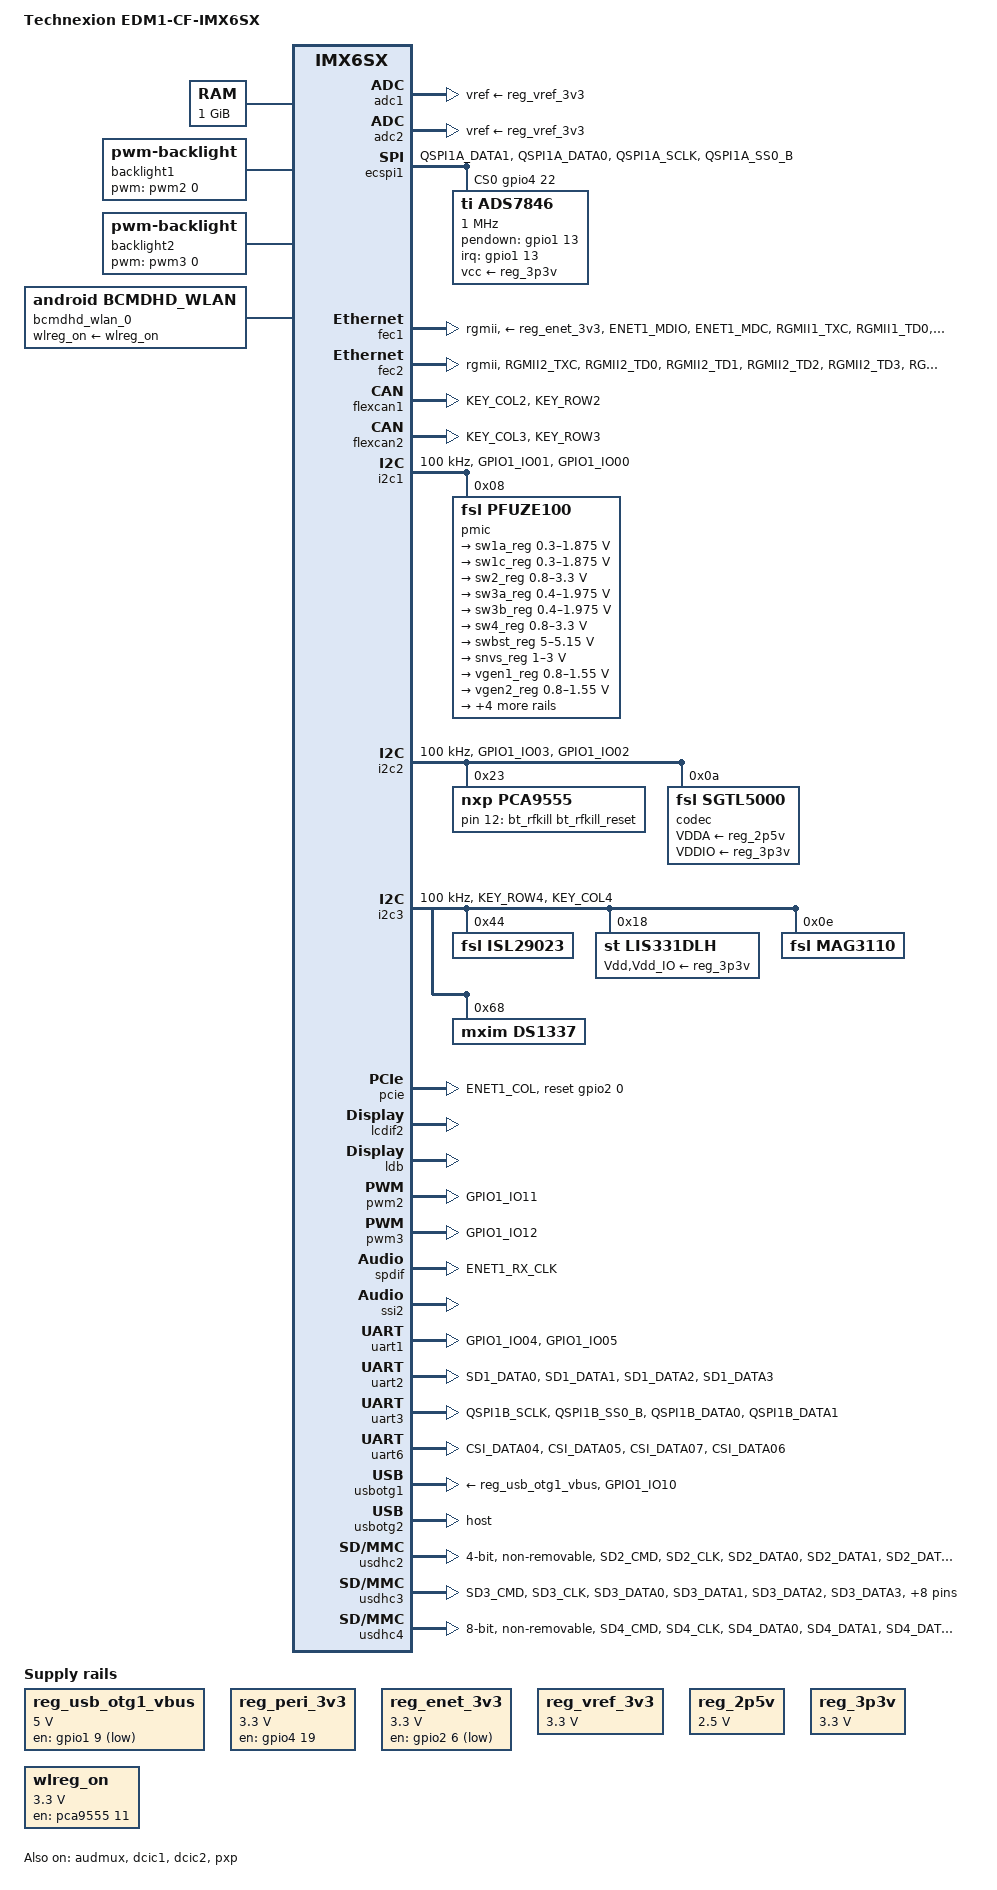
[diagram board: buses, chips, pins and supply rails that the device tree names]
/*
 * Copyright (C) 2014 Freescale Semiconductor, Inc.
 * Copyright 2016 Technexion Ltd.
 *
 * Author: Richard Hu <richard.hu@technexion.com>
 *
 * This program is free software; you can redistribute it and/or modify
 * it under the terms of the GNU General Public License version 2 as
 * published by the Free Software Foundation.
 *
 */

/dts-v1/;

#include <dt-bindings/gpio/gpio.h>
#include <dt-bindings/input/input.h>
#include "imx6sx.dtsi"

/ {
	model = "Technexion EDM1-CF-IMX6SX";
	compatible = "fsl,edm1-cf-imx6sx", "fsl,imx6sx";

	chosen {
		stdout-path = &uart1;
	};

	memory {
		reg = <0x80000000 0x40000000>;
	};

	backlight1 {
		compatible = "pwm-backlight";
		pwms = <&pwm2 0 5000000>;
		brightness-levels = <0 4 8 16 32 64 128 255>;
		default-brightness-level = <6>;
		fb-names = "mxs-lcdif0";
	};
	
	backlight2 {
		compatible = "pwm-backlight";
		pwms = <&pwm3 0 5000000>;
		brightness-levels = <0 4 8 16 32 64 128 255>;
		default-brightness-level = <6>;
		fb-names = "mxs-lcdif1";
	};

	pxp_v4l2_out {
		compatible = "fsl,imx6sx-pxp-v4l2", "fsl,imx6sl-pxp-v4l2";
		status = "okay";
	};

	regulators {
		compatible = "simple-bus";
		#address-cells = <1>;
		#size-cells = <0>;

		reg_usb_otg1_vbus: regulator@1 {
			compatible = "regulator-fixed";
			reg = <1>;
			pinctrl-names = "default";
			pinctrl-0 = <&pinctrl_usb_otg1>;
			regulator-name = "usb_otg1_vbus";
			regulator-min-microvolt = <5000000>;
			regulator-max-microvolt = <5000000>;
			gpio = <&gpio1 9 GPIO_ACTIVE_HIGH>;
		};

		reg_lcd_3v3: regulator@4 {
			compatible = "regulator-fixed";
			reg = <4>;
			regulator-name = "lcd-3v3";
			gpio = <&gpio3 27 0>;
			enable-active-high;
			status = "disabled";
		};

		reg_peri_3v3: regulator@5 {
			compatible = "regulator-fixed";
			reg = <5>;
			pinctrl-names = "default";
			pinctrl-0 = <&pinctrl_peri_3v3>;
			regulator-name = "peri_3v3";
			regulator-min-microvolt = <3300000>;
			regulator-max-microvolt = <3300000>;
			gpios = <&gpio4 19 GPIO_ACTIVE_HIGH>;
			enable-active-high;
			regulator-always-on;
		};

		reg_enet_3v3: regulator@6 {
			compatible = "regulator-fixed";
			reg = <6>;
			pinctrl-names = "default";
			pinctrl-0 = <&pinctrl_enet_3v3>;
			regulator-name = "enet_3v3";
			regulator-min-microvolt = <3300000>;
			regulator-max-microvolt = <3300000>;
			gpios = <&gpio2 6 GPIO_ACTIVE_LOW>;
		};

		reg_vref_3v3: regulator@7 {
			compatible = "regulator-fixed";
			reg = <7>;
			regulator-name = "vref-3v3";
			regulator-min-microvolt = <3300000>;
			regulator-max-microvolt = <3300000>;
		};

		reg_2p5v: 2p5v {
			compatible = "regulator-fixed";
			regulator-name = "2P5V";
			regulator-min-microvolt = <2500000>;
			regulator-max-microvolt = <2500000>;
			regulator-always-on;
		};

		reg_3p3v: 3p3v {
			compatible = "regulator-fixed";
			regulator-name = "3P3V";
			regulator-min-microvolt = <3300000>;
			regulator-max-microvolt = <3300000>;
			regulator-always-on;
		};

		wlreg_on: wlreg_on {
			compatible = "regulator-fixed";
			regulator-min-microvolt = <3300000>;
			regulator-max-microvolt = <3300000>;
			regulator-name = "wlreg_on";
			gpio = <&pca9555 11 GPIO_ACTIVE_HIGH>;
			enable-active-high;
		};
	};

	bcmdhd_wlan_0: bcmdhd_wlan@0 {
		compatible = "android,bcmdhd_wlan";
		wlreg_on-supply = <&wlreg_on>;
	};

	bt_rfkill {
		compatible = "net,rfkill-bcm43xx";
		name = "bt_rfkill";
		type = <2>;     /* bluetooth */
		bt_rfkill_reset-gpios = <&pca9555 12 0>;
	};

	gpio-edm {
		compatible = "gpio-edm";
		/* expender gpios */
		gpio_p255 {
			label = "GPIO_P255";
			gpios = <&gpio4 26 0>;
			dir   = "out";
		};
		gpio_p256 {
			label = "GPIO_P256";
			gpios = <&gpio4 27 0>;
			dir   = "out";
		};
		gpio_p257 {
			label = "GPIO_P257";
			gpios = <&gpio1 16 0>;
			dir   = "out";
		};
		gpio_p258 {
			label = "GPIO_P258";
			gpios = <&pca9555 14 0>;
			dir   = "out";
		};
		gpio_p259 {
			label = "GPIO_P259";
			gpios = <&gpio1 17 0>;
			dir   = "out";
		};
		gpio_p260 {
			label = "GPIO_P260";
			gpios = <&pca9555 15 0>;
			dir   = "out";
		};
		gpio_p261 {
			label = "GPIO_P261";
			gpios = <&gpio2 1 0>;
			dir   = "out";
		};
		gpio_p262 {
			label = "GPIO_P262";
			gpios = <&pca9555 6 0>;
			dir   = "out";
		};
		gpio_p263 {
			label = "GPIO_P263";
			gpios = <&gpio1 13 0>;
			dir   = "in"; /* touch irq*/
		};
		gpio_p264 {
			label = "GPIO_P264";
			gpios = <&pca9555 7 0>;
			dir   = "out";
		};
		wifi-bt-pwr-on {
			label = "wifi-bt-pwr-on";
			gpios = <&pca9555 10 1>;
			dir   = "out";
		};
	};

	sound {
		compatible = "fsl,edm1-cf-imx6sx-sgtl5000",
			   "fsl,imx-audio-sgtl5000";
		model = "sgtl5000-audio";
		ssi-controller = <&ssi2>;
		audio-codec = <&codec>;
		audio-routing =
			"LINE_IN", "Line In Jack",
			"MIC_IN", "Mic Jack",
			"Mic Jack", "Mic Bias",
			"Headphone Jack", "HP_OUT";
		mux-int-port = <2>;
		mux-ext-port = <6>;
	};

	sound-spdif {
		compatible = "fsl,imx-audio-spdif",
			   "fsl,edm1-cf-imx6sx-spdif";
		model = "imx-spdif";
		spdif-controller = <&spdif>;
		spdif-out;
	};
};

&adc1 {
	vref-supply = <&reg_vref_3v3>;
	status = "okay";
};

&adc2 {
	vref-supply = <&reg_vref_3v3>;
	status = "okay";
};

&audmux {
	pinctrl-names = "default";
	pinctrl-0 = <&pinctrl_audmux>;
	status = "okay";
};

&ecspi1 {
	fsl,spi-num-chipselects = <1>;
	cs-gpios = <&gpio4 22 0>;
	pinctrl-names = "default";
	pinctrl-0 = <&pinctrl_ecspi1_1 &pinctrl_ecspi1_cs_1>;
	status = "okay";

	ads7846@0 {
		reg = <0>;  /* CS0 */
		compatible = "ti,ads7846";
		pinctrl-names = "default";
		pinctrl-0 = <&pinctrl_ads7846_irq>;
		interrupt-parent = <&gpio1>;
		interrupts = <13 0>;
		spi-max-frequency = <1000000>;
		pendown-gpio = <&gpio1 13 0>;
		vcc-supply = <&reg_3p3v>;

		ti,x-min = /bits/ 16 <0>;
		ti,x-max = /bits/ 16 <4095>;
		ti,y-min = /bits/ 16 <0>;
		ti,y-max = /bits/ 16 <4095>;
		ti,pressure-max = /bits/ 16 <1024>;
		ti,x-plate-ohms = /bits/ 16 <90>;
		ti,y-plate-ohms = /bits/ 16 <90>;
		ti,debounce-max = /bits/ 16 <70>;
		ti,debounce-tol = /bits/ 16 <3>;
		ti,debounce-rep = /bits/ 16 <2>;
		ti,settle-delay-usec = /bits/ 16 <150>;

		linux,wakeup;
	};
};

&gpc {
	fsl,ldo-bypass = <1>;
};

&fec1 {
	pinctrl-names = "default";
	pinctrl-0 = <&pinctrl_enet1>;
	phy-supply = <&reg_enet_3v3>;
	phy-mode = "rgmii";
	status = "okay";
};


&fec2 {
	pinctrl-names = "default";
	pinctrl-0 = <&pinctrl_enet2>;
	phy-mode = "rgmii";
	status = "okay";
};

&dcic1 {
	dcic_id = <0>;
	dcic_mux = "dcic-lcdif1";
	status = "okay";
};

&dcic2 {
	dcic_id = <1>;
	dcic_mux = "dcic-lvds";
	status = "okay";
};

&flexcan1 {
	pinctrl-names = "default";
	pinctrl-0 = <&pinctrl_flexcan1>;
	status = "okay";
};

&flexcan2 {
	pinctrl-names = "default";
	pinctrl-0 = <&pinctrl_flexcan2>;
	status = "okay";
};

&i2c1 {
	clock-frequency = <100000>;
	pinctrl-names = "default";
	pinctrl-0 = <&pinctrl_i2c1>;
	status = "okay";

	pmic: pfuze100@08 {
		compatible = "fsl,pfuze100";
		reg = <0x08>;

		regulators {
			sw1a_reg: sw1ab {
				regulator-min-microvolt = <300000>;
				regulator-max-microvolt = <1875000>;
				regulator-boot-on;
				regulator-always-on;
				regulator-ramp-delay = <6250>;
			};

			sw1c_reg: sw1c {
				regulator-min-microvolt = <300000>;
				regulator-max-microvolt = <1875000>;
				regulator-boot-on;
				regulator-always-on;
				regulator-ramp-delay = <6250>;
			};

			sw2_reg: sw2 {
				regulator-min-microvolt = <800000>;
				regulator-max-microvolt = <3300000>;
				regulator-boot-on;
				regulator-always-on;
			};

			sw3a_reg: sw3a {
				regulator-min-microvolt = <400000>;
				regulator-max-microvolt = <1975000>;
				regulator-boot-on;
				regulator-always-on;
			};

			sw3b_reg: sw3b {
				regulator-min-microvolt = <400000>;
				regulator-max-microvolt = <1975000>;
				regulator-boot-on;
				regulator-always-on;
			};

			sw4_reg: sw4 {
				regulator-min-microvolt = <800000>;
				regulator-max-microvolt = <3300000>;
			};

			swbst_reg: swbst {
				regulator-min-microvolt = <5000000>;
				regulator-max-microvolt = <5150000>;
			};

			snvs_reg: vsnvs {
				regulator-min-microvolt = <1000000>;
				regulator-max-microvolt = <3000000>;
				regulator-boot-on;
				regulator-always-on;
			};

			vref_reg: vrefddr {
				regulator-boot-on;
				regulator-always-on;
			};

			vgen1_reg: vgen1 {
				regulator-min-microvolt = <800000>;
				regulator-max-microvolt = <1550000>;
				regulator-always-on;
			};

			vgen2_reg: vgen2 {
				regulator-min-microvolt = <800000>;
				regulator-max-microvolt = <1550000>;
			};

			vgen3_reg: vgen3 {
				regulator-min-microvolt = <1800000>;
				regulator-max-microvolt = <3300000>;
				regulator-always-on;
			};

			vgen4_reg: vgen4 {
				regulator-min-microvolt = <1800000>;
				regulator-max-microvolt = <3300000>;
				regulator-always-on;
			};

			vgen5_reg: vgen5 {
				regulator-min-microvolt = <1800000>;
				regulator-max-microvolt = <3300000>;
				regulator-always-on;
			};

			vgen6_reg: vgen6 {
				regulator-min-microvolt = <1800000>;
				regulator-max-microvolt = <3300000>;
				regulator-always-on;
			};
		};
	};
};

&i2c2 {
	clock-frequency = <100000>;
	pinctrl-names = "default";
	pinctrl-0 = <&pinctrl_i2c2>;
	status = "okay";

	pca9555: pca9555@23 {
		compatible = "nxp,pca9555";
//		interrupt-parent = <&gpio1>;
//		interrupts = <23 0x2>;
		gpio-controller;
		#gpio-cells = <2>;
//		interrupt-controller;
		#interrupt-cells = <2>;
		reg = <0x23>;
	};

	codec: sgtl5000@0a {
		compatible = "fsl,sgtl5000";
		reg = <0x0a>;
		clocks = <&clks IMX6SX_CLK_AUDIO>;
		VDDA-supply = <&reg_2p5v>;
		VDDIO-supply = <&reg_3p3v>;
	};
};

&i2c3 {
	clock-frequency = <100000>;
	pinctrl-names = "default";
	pinctrl-0 = <&pinctrl_i2c3>;
	status = "okay";

	isl29023@44 {
		compatible = "fsl,isl29023";
		reg = <0x44>;
		rext = <499>;
	};

	lis331dlh: lis331dlh@18 {
		compatible = "st,lis331dlh", "st,lis3lv02d";
		reg = <0x18>;
		Vdd-supply = <&reg_3p3v>;
		Vdd_IO-supply = <&reg_3p3v>;

		st,click-single-x;
		st,click-single-y;
		st,click-single-z;
		st,click-thresh-x = <10>;
		st,click-thresh-y = <10>;
		st,click-thresh-z = <10>;
		st,irq1-click;
		st,irq2-click;
		st,wakeup-x-lo;
		st,wakeup-x-hi;
		st,wakeup-y-lo;
		st,wakeup-y-hi;
		st,wakeup-z-lo;
		st,wakeup-z-hi;
		st,min-limit-x = <120>;
		st,min-limit-y = <120>;
		st,min-limit-z = <140>;
		st,max-limit-x = <550>;
		st,max-limit-y = <550>;
		st,max-limit-z = <750>;
	};

	mag3110@0e {
		compatible = "fsl,mag3110";
		reg = <0x0e>;
		position = <2>;
	};

	ds1337: rtc@68 {
		compatible = "mxim,ds1337";
		reg = <0x68>;
	};
};

&i2c4 {
	clock-frequency = <100000>;
	pinctrl-names = "default";
	pinctrl-0 = <&pinctrl_i2c4>;

	status = "disabled";
};

&lcdif1 {
	pinctrl-names = "default";
	pinctrl-0 = <&pinctrl_lcd>;
	lcd-supply = <&reg_lcd_3v3>;
	display = <&display0>;
	status = "disabled";

	display0: display {
		bits-per-pixel = <24>;
		bus-width = <24>;

		display-timings {
			native-mode = <&timing0>;
			timing0: timing0 {
				clock-frequency = <33260000>;
				hactive = <800>;
				vactive = <480>;
				hback-porch = <46>;
				hfront-porch = <210>;
				vback-porch = <23>;
				vfront-porch = <22>;
				hsync-len = <1>;
				vsync-len = <1>;
				hsync-active = <0>;
				vsync-active = <0>;
				de-active = <1>;
				pixelclk-active = <0>;
				interlaced =  <0>;
			};
		};
	};
};

&pcie {
	pinctrl-names = "default";
	pinctrl-0 = <&pinctrl_pcie>;
	reset-gpio = <&gpio2 0 0>;
	status = "okay";
};

&lcdif2 {
	display = <&display1>;
	disp-dev = "ldb";
	status = "okay";
	display1: display {
		bits-per-pixel = <24>;
		bus-width = <24>;
	};
};
&ldb {
	status = "okay";
	lvds-channel@0 {
		fsl,data-mapping = "spwg";
		fsl,data-width = <24>;
		crtc = "lcdif2";
		status = "okay";
		display-timings {
			native-mode = <&timing1>;
			timing1: hj070na {
				clock-frequency = <51000000>;
				hactive = <1024>;
				vactive = <600>;
				hback-porch = <90>;
				hfront-porch = <120>;
				vback-porch = <1>;
				vfront-porch = <1>;
				hsync-len = <100>;
				vsync-len = <33>;
			};
		};
	};
};

&pwm2 {
	pinctrl-names = "default";
	pinctrl-0 = <&pinctrl_pwm2>;
	status = "okay";
};

&pwm3 {
	pinctrl-names = "default";
	pinctrl-0 = <&pinctrl_pwm3>;
	status = "okay";
};

&pxp {
        status = "okay";
};

&snvs_poweroff {
	status = "okay";
};

&snvs_pwrkey {
	status = "disabled";
};

&spdif {
	pinctrl-names = "default";
	pinctrl-0 = <&pinctrl_spdif>;
	status = "okay";
};

&ssi2 {
	status = "okay";
};

&uart1 {
	pinctrl-names = "default";
	pinctrl-0 = <&pinctrl_uart1>;
	status = "okay";
};

&uart2 {
	pinctrl-names = "default";
	pinctrl-0 = <&pinctrl_uart2>;
	fsl,uart-has-rtscts;
	status = "okay";
};

&uart3 {
	pinctrl-names = "default";
	pinctrl-0 = <&pinctrl_uart3>;
	fsl,uart-has-rtscts;
	status = "okay";
};

&uart6 { /* bluetooth */
	pinctrl-names = "default";
	pinctrl-0 = <&pinctrl_uart6>;
	fsl,uart-has-rtscts;
	status = "okay";
};

&usbotg1 {
	vbus-supply = <&reg_usb_otg1_vbus>;
	pinctrl-names = "default";
	pinctrl-0 = <&pinctrl_usb_otg1_id>;
	srp-disable;
	hnp-disable;
	adp-disable;
	status = "okay";
};

&usbotg2 {
	dr_mode = "host";
	status = "okay";
};

/* Broadcom Wifi */
&usdhc2 {
	pinctrl-names = "default";
	pinctrl-0 = <&pinctrl_usdhc2>;
	bus-width = <4>;
	no-1-8-v;	/* force 3.3V VIO */
	non-removable;
	cd-post;
	pm-ignore-notify;
	wifi-host;
	status = "okay";
};

/* baseboard SD card */
&usdhc3 {
	pinctrl-names = "default";
	pinctrl-0 = <&pinctrl_usdhc3>;
	cd-gpios = <&gpio6 0 GPIO_ACTIVE_LOW>;
	wp-gpios = <&gpio6 1 GPIO_ACTIVE_HIGH>;
	status = "okay";
};

/* Module i-Nand */
&usdhc4 {
	pinctrl-names = "default";
	pinctrl-0 = <&pinctrl_usdhc4_1>;
	bus-width = <8>;
	keep-power-in-suspend;
	enable-sdio-wakeup;
	non-removable;
	status = "okay";
};

&wdog1 {
	pinctrl-names = "default";
	pinctrl-0 = <&pinctrl_wdog>;
	fsl,wdog_b;
};

&iomuxc {
	pinctrl-names = "default";
	pinctrl-0 = <&pinctrl_hog>;

	imx6sx-edm1-cf {
		pinctrl_hog: hoggrp {
			fsl,pins = <
				MX6SX_PAD_QSPI1B_DATA2__GPIO4_IO_26  0xb000 /* GPIO4_26 EDM pin 255 */
				MX6SX_PAD_QSPI1B_DATA3__GPIO4_IO_27  0xb000 /* GPIO4_27 EDM pin 256 */
				MX6SX_PAD_CSI_DATA02__GPIO1_IO_16    0xb000 /* GPIO1_16 EDM pin 257 */
				MX6SX_PAD_CSI_DATA03__GPIO1_IO_17    0xb000 /* GPIO1_17 EDM pin 259 */
				MX6SX_PAD_ENET1_CRS__GPIO2_IO_1      0xb000 /* GPIO2_1 EDM pin 261 */
			>;
		};

		pinctrl_audmux: audmuxgrp {
			fsl,pins = <
				MX6SX_PAD_CSI_DATA00__AUDMUX_AUD6_TXC	0x130b0
				MX6SX_PAD_CSI_DATA01__AUDMUX_AUD6_TXFS	0x130b0
				MX6SX_PAD_CSI_HSYNC__AUDMUX_AUD6_TXD	0x120b0
				MX6SX_PAD_CSI_VSYNC__AUDMUX_AUD6_RXD	0x130b0
				MX6SX_PAD_CSI_PIXCLK__AUDMUX_MCLK	0x130b0
			>;
		};

		pinctrl_csi_0: csigrp-0 {
			fsl,pins = <
				MX6SX_PAD_LCD1_DATA07__CSI1_MCLK	0x110b0
				MX6SX_PAD_LCD1_DATA06__CSI1_PIXCLK	0x110b0
				MX6SX_PAD_LCD1_DATA04__CSI1_VSYNC	0x110b0
				MX6SX_PAD_LCD1_DATA05__CSI1_HSYNC	0x110b0
				MX6SX_PAD_LCD1_DATA17__CSI1_DATA_0	0x110b0
				MX6SX_PAD_LCD1_DATA16__CSI1_DATA_1	0x110b0
				MX6SX_PAD_LCD1_DATA15__CSI1_DATA_2	0x110b0
				MX6SX_PAD_LCD1_DATA14__CSI1_DATA_3	0x110b0
				MX6SX_PAD_LCD1_DATA13__CSI1_DATA_4	0x110b0
				MX6SX_PAD_LCD1_DATA12__CSI1_DATA_5	0x110b0
				MX6SX_PAD_LCD1_DATA11__CSI1_DATA_6	0x110b0
				MX6SX_PAD_LCD1_DATA10__CSI1_DATA_7	0x110b0
				MX6SX_PAD_LCD1_DATA09__CSI1_DATA_8	0x110b0
				MX6SX_PAD_LCD1_DATA08__CSI1_DATA_9	0x110b0
				MX6SX_PAD_LCD1_RESET__GPIO3_IO_27	0x80000000
				MX6SX_PAD_LCD1_VSYNC__GPIO3_IO_28	0x80000000
			>;
		};

		pinctrl_enet1: enet1grp {
			fsl,pins = <
				MX6SX_PAD_ENET1_MDIO__ENET1_MDIO	0xa0b1
				MX6SX_PAD_ENET1_MDC__ENET1_MDC		0xa0b1
				MX6SX_PAD_RGMII1_TXC__ENET1_RGMII_TXC	0xa0b9
				MX6SX_PAD_RGMII1_TD0__ENET1_TX_DATA_0	0xa0b1
				MX6SX_PAD_RGMII1_TD1__ENET1_TX_DATA_1	0xa0b1
				MX6SX_PAD_RGMII1_TD2__ENET1_TX_DATA_2	0xa0b1
				MX6SX_PAD_RGMII1_TD3__ENET1_TX_DATA_3	0xa0b1
				MX6SX_PAD_RGMII1_TX_CTL__ENET1_TX_EN	0xa0b1
				MX6SX_PAD_RGMII1_RXC__ENET1_RX_CLK	0x3081
				MX6SX_PAD_RGMII1_RD0__ENET1_RX_DATA_0	0x3081
				MX6SX_PAD_RGMII1_RD1__ENET1_RX_DATA_1	0x3081
				MX6SX_PAD_RGMII1_RD2__ENET1_RX_DATA_2	0x3081
				MX6SX_PAD_RGMII1_RD3__ENET1_RX_DATA_3	0x3081
				MX6SX_PAD_RGMII1_RX_CTL__ENET1_RX_EN	0x3081
				MX6SX_PAD_ENET2_RX_CLK__ENET2_REF_CLK_25M	0x91
			>;
		};

		pinctrl_enet_3v3: enet3v3grp {
			fsl,pins = <
				MX6SX_PAD_ENET2_COL__GPIO2_IO_6		0x80000000
			>;
		};

		pinctrl_enet2: enet2grp {
			fsl,pins = <
				MX6SX_PAD_RGMII2_TXC__ENET2_RGMII_TXC	0xa0b9
				MX6SX_PAD_RGMII2_TD0__ENET2_TX_DATA_0	0xa0b1
				MX6SX_PAD_RGMII2_TD1__ENET2_TX_DATA_1	0xa0b1
				MX6SX_PAD_RGMII2_TD2__ENET2_TX_DATA_2	0xa0b1
				MX6SX_PAD_RGMII2_TD3__ENET2_TX_DATA_3	0xa0b1
				MX6SX_PAD_RGMII2_TX_CTL__ENET2_TX_EN	0xa0b1
				MX6SX_PAD_RGMII2_RXC__ENET2_RX_CLK	0x3081
				MX6SX_PAD_RGMII2_RD0__ENET2_RX_DATA_0	0x3081
				MX6SX_PAD_RGMII2_RD1__ENET2_RX_DATA_1	0x3081
				MX6SX_PAD_RGMII2_RD2__ENET2_RX_DATA_2	0x3081
				MX6SX_PAD_RGMII2_RD3__ENET2_RX_DATA_3	0x3081
				MX6SX_PAD_RGMII2_RX_CTL__ENET2_RX_EN	0x3081
			>;
		};

		pinctrl_flexcan1: flexcan1grp {
			fsl,pins = <
				MX6SX_PAD_KEY_COL2__CAN1_TX	0x1b0b0
				MX6SX_PAD_KEY_ROW2__CAN1_RX	0x1b0b0
			>;
		};

		pinctrl_flexcan2: flexcan2grp {
			fsl,pins = <
				MX6SX_PAD_KEY_COL3__CAN2_TX 0x1b0b0
				MX6SX_PAD_KEY_ROW3__CAN2_RX	0x1b0b0
			>;
		};

		pinctrl_ecspi1_cs_1: ecspi1_cs_grp-1 {
			fsl,pins = <
				MX6SX_PAD_QSPI1A_SS0_B__GPIO4_IO_22  0x80000000
			>;
		};

		pinctrl_ecspi1_1: ecspi1grp-1 {
			fsl,pins = <
				MX6SX_PAD_QSPI1A_DATA1__ECSPI1_MISO 0x100b1
				MX6SX_PAD_QSPI1A_DATA0__ECSPI1_MOSI   0x100b1
				MX6SX_PAD_QSPI1A_SCLK__ECSPI1_SCLK   0x100b1
			>;
		};

		pinctrl_ads7846_irq: ads7846_irq_ctrlgrp {
			fsl,pins = <
				MX6SX_PAD_GPIO1_IO13__GPIO1_IO_13     0x1f059
			>;
		};

		pinctrl_i2c1: i2c1grp {
			fsl,pins = <
				MX6SX_PAD_GPIO1_IO01__I2C1_SDA		0x4001b8b1
				MX6SX_PAD_GPIO1_IO00__I2C1_SCL		0x4001b8b1
			>;
		};

		pinctrl_i2c2: i2c2grp {
			fsl,pins = <
				MX6SX_PAD_GPIO1_IO03__I2C2_SDA 0x4001b8b1
				MX6SX_PAD_GPIO1_IO02__I2C2_SCL 0x4001b8b1
			>;
		};

		pinctrl_i2c3: i2c3grp {
			fsl,pins = <
				MX6SX_PAD_KEY_ROW4__I2C3_SDA 0x4001b8b1
				MX6SX_PAD_KEY_COL4__I2C3_SCL 0x4001b8b1
			>;
		};

		pinctrl_i2c4: i2c4grp {
			fsl,pins = <
				MX6SX_PAD_CSI_DATA07__I2C4_SDA		0x4001b8b1
				MX6SX_PAD_CSI_DATA06__I2C4_SCL		0x4001b8b1
			>;
		};

		pinctrl_lcd: lcdgrp {
			fsl,pins = <
				MX6SX_PAD_LCD1_DATA00__LCDIF1_DATA_0 0x4001b0b0
				MX6SX_PAD_LCD1_DATA01__LCDIF1_DATA_1 0x4001b0b0
				MX6SX_PAD_LCD1_DATA02__LCDIF1_DATA_2 0x4001b0b0
				MX6SX_PAD_LCD1_DATA03__LCDIF1_DATA_3 0x4001b0b0
				MX6SX_PAD_LCD1_DATA04__LCDIF1_DATA_4 0x4001b0b0
				MX6SX_PAD_LCD1_DATA05__LCDIF1_DATA_5 0x4001b0b0
				MX6SX_PAD_LCD1_DATA06__LCDIF1_DATA_6 0x4001b0b0
				MX6SX_PAD_LCD1_DATA07__LCDIF1_DATA_7 0x4001b0b0
				MX6SX_PAD_LCD1_DATA08__LCDIF1_DATA_8 0x4001b0b0
				MX6SX_PAD_LCD1_DATA09__LCDIF1_DATA_9 0x4001b0b0
				MX6SX_PAD_LCD1_DATA10__LCDIF1_DATA_10 0x4001b0b0
				MX6SX_PAD_LCD1_DATA11__LCDIF1_DATA_11 0x4001b0b0
				MX6SX_PAD_LCD1_DATA12__LCDIF1_DATA_12 0x4001b0b0
				MX6SX_PAD_LCD1_DATA13__LCDIF1_DATA_13 0x4001b0b0
				MX6SX_PAD_LCD1_DATA14__LCDIF1_DATA_14 0x4001b0b0
				MX6SX_PAD_LCD1_DATA15__LCDIF1_DATA_15 0x4001b0b0
				MX6SX_PAD_LCD1_DATA16__LCDIF1_DATA_16 0x4001b0b0
				MX6SX_PAD_LCD1_DATA17__LCDIF1_DATA_17 0x4001b0b0
				MX6SX_PAD_LCD1_DATA18__LCDIF1_DATA_18 0x4001b0b0
				MX6SX_PAD_LCD1_DATA19__LCDIF1_DATA_19 0x4001b0b0
				MX6SX_PAD_LCD1_DATA20__LCDIF1_DATA_20 0x4001b0b0
				MX6SX_PAD_LCD1_DATA21__LCDIF1_DATA_21 0x4001b0b0
				MX6SX_PAD_LCD1_DATA22__LCDIF1_DATA_22 0x4001b0b0
				MX6SX_PAD_LCD1_DATA23__LCDIF1_DATA_23 0x4001b0b0
				MX6SX_PAD_LCD1_CLK__LCDIF1_CLK	0x4001b0b0
				MX6SX_PAD_LCD1_ENABLE__LCDIF1_ENABLE 0x4001b0b0
				MX6SX_PAD_LCD1_VSYNC__LCDIF1_VSYNC 0x4001b0b0
				MX6SX_PAD_LCD1_HSYNC__LCDIF1_HSYNC 0x4001b0b0
				MX6SX_PAD_LCD1_RESET__GPIO3_IO_27 0x4001b0b0
			>;
		};

		pinctrl_mqs: mqsgrp {
			fsl,pins = <
				MX6SX_PAD_SD2_CLK__MQS_RIGHT 0x120b0
				MX6SX_PAD_SD2_CMD__MQS_LEFT  0x120b0
			>;
		};

		pinctrl_pcie: pciegrp {
			fsl,pins = <
				MX6SX_PAD_ENET1_COL__GPIO2_IO_0 0x10b0
			>;
		};

		pinctrl_pcie_reg: pciereggrp {
			fsl,pins = <
				MX6SX_PAD_ENET1_CRS__GPIO2_IO_1	0x10b0
			>;
		};

		pinctrl_peri_3v3: peri3v3grp {
			fsl,pins = <
				MX6SX_PAD_QSPI1A_DATA3__GPIO4_IO_19	0x80000000
			>;
		};

		pinctrl_pwm2: pwm2grp {
			fsl,pins = <
				MX6SX_PAD_GPIO1_IO11__PWM2_OUT 0x110b0
			>;
		};

		pinctrl_pwm3: pwm3grp {
			fsl,pins = <
				MX6SX_PAD_GPIO1_IO12__PWM3_OUT 0x110b0
			>;
		};
		
		pinctrl_pwm4: pwm4grp {
			fsl,pins = <
				MX6SX_PAD_SD1_DATA1__PWM4_OUT 0x110b0
			>;
		};

		pinctrl_qspi2: qspi2grp {
			fsl,pins = <
				MX6SX_PAD_NAND_WP_B__QSPI2_A_DATA_0     0x70f1
				MX6SX_PAD_NAND_READY_B__QSPI2_A_DATA_1  0x70f1
				MX6SX_PAD_NAND_CE0_B__QSPI2_A_DATA_2    0x70f1
				MX6SX_PAD_NAND_CE1_B__QSPI2_A_DATA_3    0x70f1
				MX6SX_PAD_NAND_CLE__QSPI2_A_SCLK        0x70f1
				MX6SX_PAD_NAND_ALE__QSPI2_A_SS0_B       0x70f1
				MX6SX_PAD_NAND_DATA01__QSPI2_B_DATA_0   0x70f1
				MX6SX_PAD_NAND_DATA00__QSPI2_B_DATA_1   0x70f1
				MX6SX_PAD_NAND_WE_B__QSPI2_B_DATA_2     0x70f1
				MX6SX_PAD_NAND_RE_B__QSPI2_B_DATA_3     0x70f1
				MX6SX_PAD_NAND_DATA02__QSPI2_B_SCLK     0x70f1
				MX6SX_PAD_NAND_DATA03__QSPI2_B_SS0_B    0x70f1
			>;
		};
		
		pinctrl_qspi2_2: qspi2grp_2 {
			fsl,pins = <
				MX6SX_PAD_NAND_WP_B__QSPI2_A_DATA_0     0x70f1
				MX6SX_PAD_NAND_READY_B__QSPI2_A_DATA_1  0x70f1
				MX6SX_PAD_NAND_CE0_B__QSPI2_A_DATA_2    0x70f1
				MX6SX_PAD_NAND_CE1_B__QSPI2_A_DATA_3    0x70f1
				MX6SX_PAD_NAND_CLE__QSPI2_A_SCLK        0x70f1
				MX6SX_PAD_NAND_ALE__QSPI2_A_SS0_B       0x70f1
			>;
		};
		
		pinctrl_sai1: sai1grp {
                        fsl,pins = <
                                MX6SX_PAD_CSI_DATA00__SAI1_TX_BCLK     0x130b0
                                MX6SX_PAD_CSI_DATA01__SAI1_TX_SYNC     0x130b0
                                MX6SX_PAD_CSI_HSYNC__SAI1_TX_DATA_0    0x120b0
                                MX6SX_PAD_CSI_VSYNC__SAI1_RX_DATA_0    0x130b0
                                MX6SX_PAD_CSI_PIXCLK__AUDMUX_MCLK      0x130b0
                        >;
                };

		pinctrl_spdif: spdifgrp {
			fsl,pins = <
				MX6SX_PAD_ENET1_RX_CLK__SPDIF_OUT	0x1b0b0
			>;
		};

		pinctrl_uart1: uart1grp {
			fsl,pins = <
				MX6SX_PAD_GPIO1_IO04__UART1_TX		0x1b0b1
				MX6SX_PAD_GPIO1_IO05__UART1_RX		0x1b0b1
			>;
		};

		pinctrl_uart2: uart2grp {
			fsl,pins = <
				MX6SX_PAD_SD1_DATA0__UART2_RX 0x1b0b1
				MX6SX_PAD_SD1_DATA1__UART2_TX 0x1b0b1
				MX6SX_PAD_SD1_DATA2__UART2_CTS_B 0x1b0b1
				MX6SX_PAD_SD1_DATA3__UART2_RTS_B 0x1b0b1
			>;
		};

		pinctrl_uart3: uart3grp {
			fsl,pins = <
				MX6SX_PAD_QSPI1B_SCLK__UART3_RX    0x1b0b1
				MX6SX_PAD_QSPI1B_SS0_B__UART3_TX    0x1b0b1
				MX6SX_PAD_QSPI1B_DATA0__UART3_CTS_B 0x1b0b1
				MX6SX_PAD_QSPI1B_DATA1__UART3_RTS_B 0x1b0b1
			>;
		};

		pinctrl_uart6: uart6grp {
			fsl,pins = <
				MX6SX_PAD_CSI_DATA04__UART6_RX		0x1b0b1
				MX6SX_PAD_CSI_DATA05__UART6_TX		0x1b0b1
				MX6SX_PAD_CSI_DATA07__UART6_CTS_B	0x1b0b1
				MX6SX_PAD_CSI_DATA06__UART6_RTS_B	0x1b0b1
			>;
		};

		pinctrl_uart5dte_1: uart5dtegrp-1 {
			fsl,pins = <
				MX6SX_PAD_KEY_ROW3__UART5_TX		0x1b0b1
				MX6SX_PAD_KEY_COL3__UART5_RX		0x1b0b1
				MX6SX_PAD_KEY_ROW2__UART5_RTS_B		0x1b0b1
				MX6SX_PAD_KEY_COL2__UART5_CTS_B		0x1b0b1
			>;
		};

		pinctrl_usb_otg1: usbotg1grp {
			fsl,pins = <
				MX6SX_PAD_GPIO1_IO09__GPIO1_IO_9	0x10b0
			>;
		};

		pinctrl_usb_otg1_id: usbotg1idgrp {
			fsl,pins = <
				MX6SX_PAD_GPIO1_IO10__ANATOP_OTG1_ID	0x17059
			>;
		};

		pinctrl_usb_otg2: usbot2ggrp {
			fsl,pins = <
				MX6SX_PAD_GPIO1_IO12__GPIO1_IO_12	0x10b0
			>;
		};

		pinctrl_usdhc2: usdhc2grp {
			fsl,pins = <
				MX6SX_PAD_SD2_CMD__USDHC2_CMD		0x17059
				MX6SX_PAD_SD2_CLK__USDHC2_CLK		0x10059
				MX6SX_PAD_SD2_DATA0__USDHC2_DATA0	0x17059
				MX6SX_PAD_SD2_DATA1__USDHC2_DATA1	0x17059
				MX6SX_PAD_SD2_DATA2__USDHC2_DATA2	0x17059
				MX6SX_PAD_SD2_DATA3__USDHC2_DATA3	0x17059
			>;
		};

		pinctrl_usdhc3: usdhc3grp {
			fsl,pins = <
				MX6SX_PAD_SD3_CMD__USDHC3_CMD		0x17069
				MX6SX_PAD_SD3_CLK__USDHC3_CLK		0x10071
				MX6SX_PAD_SD3_DATA0__USDHC3_DATA0	0x17069
				MX6SX_PAD_SD3_DATA1__USDHC3_DATA1	0x17069
				MX6SX_PAD_SD3_DATA2__USDHC3_DATA2	0x17069
				MX6SX_PAD_SD3_DATA3__USDHC3_DATA3	0x17069
				MX6SX_PAD_SD3_DATA4__USDHC3_DATA4	0x17069
				MX6SX_PAD_SD3_DATA5__USDHC3_DATA5	0x17069
				MX6SX_PAD_SD3_DATA6__USDHC3_DATA6	0x17069
				MX6SX_PAD_SD3_DATA7__USDHC3_DATA7	0x17069
				MX6SX_PAD_SD1_CLK__GPIO6_IO_0		0x17059 /* CD */
				MX6SX_PAD_SD1_CMD__GPIO6_IO_1		0x17059 /* WP */
			>;
		};

		pinctrl_usdhc3_100mhz: usdhc3grp-100mhz {
			fsl,pins = <
				MX6SX_PAD_SD3_CMD__USDHC3_CMD		0x170b9
				MX6SX_PAD_SD3_CLK__USDHC3_CLK		0x100b9
				MX6SX_PAD_SD3_DATA0__USDHC3_DATA0	0x170b9
				MX6SX_PAD_SD3_DATA1__USDHC3_DATA1	0x170b9
				MX6SX_PAD_SD3_DATA2__USDHC3_DATA2	0x170b9
				MX6SX_PAD_SD3_DATA3__USDHC3_DATA3	0x170b9
				MX6SX_PAD_SD3_DATA4__USDHC3_DATA4	0x170b9
				MX6SX_PAD_SD3_DATA5__USDHC3_DATA5	0x170b9
				MX6SX_PAD_SD3_DATA6__USDHC3_DATA6	0x170b9
				MX6SX_PAD_SD3_DATA7__USDHC3_DATA7	0x170b9
			>;
		};

		pinctrl_usdhc3_200mhz: usdhc3grp-200mhz {
			fsl,pins = <
				MX6SX_PAD_SD3_CMD__USDHC3_CMD		0x170f9
				MX6SX_PAD_SD3_CLK__USDHC3_CLK		0x100f9
				MX6SX_PAD_SD3_DATA0__USDHC3_DATA0	0x170f9
				MX6SX_PAD_SD3_DATA1__USDHC3_DATA1	0x170f9
				MX6SX_PAD_SD3_DATA2__USDHC3_DATA2	0x170f9
				MX6SX_PAD_SD3_DATA3__USDHC3_DATA3	0x170f9
				MX6SX_PAD_SD3_DATA4__USDHC3_DATA4	0x170f9
				MX6SX_PAD_SD3_DATA5__USDHC3_DATA5	0x170f9
				MX6SX_PAD_SD3_DATA6__USDHC3_DATA6	0x170f9
				MX6SX_PAD_SD3_DATA7__USDHC3_DATA7	0x170f9
			>;
		};

		pinctrl_usdhc4: usdhc4grp {
			fsl,pins = <
				MX6SX_PAD_SD4_CMD__USDHC4_CMD		0x17059
				MX6SX_PAD_SD4_CLK__USDHC4_CLK		0x10059
				MX6SX_PAD_SD4_DATA0__USDHC4_DATA0	0x17059
				MX6SX_PAD_SD4_DATA1__USDHC4_DATA1	0x17059
				MX6SX_PAD_SD4_DATA2__USDHC4_DATA2	0x17059
				MX6SX_PAD_SD4_DATA3__USDHC4_DATA3	0x17059
				MX6SX_PAD_SD4_DATA7__GPIO6_IO_21	0x17059 /* CD */
				MX6SX_PAD_SD4_DATA6__GPIO6_IO_20	0x17059 /* WP */
			>;
		};

		pinctrl_usdhc4_1: usdhc4grp-1 {
			fsl,pins = <
				MX6SX_PAD_SD4_CMD__USDHC4_CMD		0x17059
				MX6SX_PAD_SD4_CLK__USDHC4_CLK		0x10059
				MX6SX_PAD_SD4_DATA0__USDHC4_DATA0	0x17059
				MX6SX_PAD_SD4_DATA1__USDHC4_DATA1	0x17059
				MX6SX_PAD_SD4_DATA2__USDHC4_DATA2	0x17059
				MX6SX_PAD_SD4_DATA3__USDHC4_DATA3	0x17059
				MX6SX_PAD_SD4_DATA4__USDHC4_DATA4	0x17059
				MX6SX_PAD_SD4_DATA5__USDHC4_DATA5	0x17059
				MX6SX_PAD_SD4_DATA6__USDHC4_DATA6	0x17059
				MX6SX_PAD_SD4_DATA7__USDHC4_DATA7	0x17059
			>;
		};

		pinctrl_usdhc4_1_100mhz: usdhc4grp-1-100mhz {
			fsl,pins = <
				MX6SX_PAD_SD4_CMD__USDHC4_CMD		0x170b9
				MX6SX_PAD_SD4_CLK__USDHC4_CLK		0x100b9
				MX6SX_PAD_SD4_DATA0__USDHC4_DATA0	0x170b9
				MX6SX_PAD_SD4_DATA1__USDHC4_DATA1	0x170b9
				MX6SX_PAD_SD4_DATA2__USDHC4_DATA2	0x170b9
				MX6SX_PAD_SD4_DATA3__USDHC4_DATA3	0x170b9
				MX6SX_PAD_SD4_DATA4__USDHC4_DATA4	0x170b9
				MX6SX_PAD_SD4_DATA5__USDHC4_DATA5	0x170b9
				MX6SX_PAD_SD4_DATA6__USDHC4_DATA6	0x170b9
				MX6SX_PAD_SD4_DATA7__USDHC4_DATA7	0x170b9
			>;
		};

		pinctrl_usdhc4_1_200mhz: usdhc4grp-1-200mhz {
			fsl,pins = <
				MX6SX_PAD_SD4_CMD__USDHC4_CMD		0x170f9
				MX6SX_PAD_SD4_CLK__USDHC4_CLK		0x100f9
				MX6SX_PAD_SD4_DATA0__USDHC4_DATA0	0x170f9
				MX6SX_PAD_SD4_DATA1__USDHC4_DATA1	0x170f9
				MX6SX_PAD_SD4_DATA2__USDHC4_DATA2	0x170f9
				MX6SX_PAD_SD4_DATA3__USDHC4_DATA3	0x170f9
				MX6SX_PAD_SD4_DATA4__USDHC4_DATA4	0x170f9
				MX6SX_PAD_SD4_DATA5__USDHC4_DATA5	0x170f9
				MX6SX_PAD_SD4_DATA6__USDHC4_DATA6	0x170f9
				MX6SX_PAD_SD4_DATA7__USDHC4_DATA7	0x170f9
			>;
		};

		pinctrl_wdog: wdoggrp {
			fsl,pins = <
				MX6SX_PAD_GPIO1_IO08__WDOG1_WDOG_B 0x30b0
			>;
		};
	};
};
